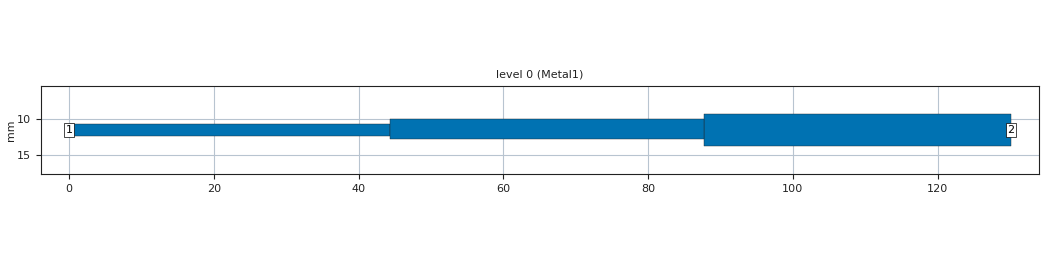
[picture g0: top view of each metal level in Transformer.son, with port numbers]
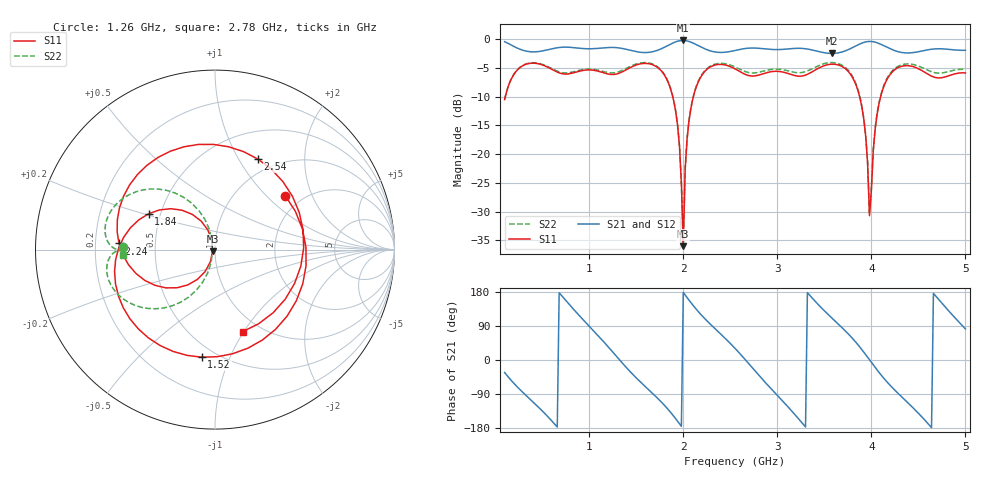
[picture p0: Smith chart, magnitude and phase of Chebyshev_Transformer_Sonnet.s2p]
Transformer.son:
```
FTYP SONPROJ 19 ! Sonnet Project File
VER 18.53
HEADER
LIC SL685a1842
DAT 06/29/2025 10:08:25
BUILT_BY_CREATED xgeom 18.53-Lite 06/25/2025 21:43:06
BUILT_BY_SAVED sonnet 18.53-Lite
MDATE 06/29/2025 10:08:25
HDATE 06/29/2025 10:08:25
END HEADER
DIM
ANG DEG
CAP PF
CON /OH
FREQ GHZ
IND NH
LNG MM
RES OH
END DIM
CONTROL
VARSWP
OPTIONS  -bd
FORCERUN
SPEED 0
CACHE_ABS 2
Q_ACC N
END CONTROL
GEO
TMET "Lossless" 0 SUP 0 0 0 0
BMET "Lossless" 0 SUP 0 0 0 0
MET "Copper" 1 NOR 58000000 0.5 32 
BOX 1 130.151 22.1187 2000 600 20 0
      10 1 1 0 0 0 0 "Air"
      0.508 3.55 1 0.0029 0 0 0 "Rogers RO4003C"
TECHLAY METAL Metal1 <UNSPECIFIED> -2 -65534 
0 0 0 N 261 1 1 100 100 0 0 0 Y
END
END
VALVAR L1 LNG 44.38 "Dim. Param."
VALVAR L2 LNG 43.33 "Dim. Param. L2"
VALVAR L3 LNG 42.439520085625 "Dim. Param."
VALVAR W1 LNG 1.57 "Dim. Param."
VALVAR W2 LNG 2.7 "Dim. Param."
VALVAR W3 LNG 4.4 "Dim. Param."
LORGN 0 22.1187 U 
POR1 BOX
POLY 163 1
1
2 50 0 0 0 130.153 11.57390528 
POR1 BOX
POLY 244 1
3
1 50 0 0 0 0 11.57393673 
NUM 3
0 5 0 N 163 1 1 100 100 0 0 0 Y
TLAYNAM Metal1 INH
87.71347991 9.373905279
130.153 9.373905279
130.153 13.77390528
87.71347991 13.77390528
87.71347991 9.373905279
END
0 5 0 N 244 1 1 100 100 0 0 0 Y
TLAYNAM Metal1 NOH
0 10.78893673
44.38 10.78893673
44.38 12.35893673
0 12.35893673
0 10.78893673
END
0 5 0 N 251 1 1 100 100 0 0 0 Y
TLAYNAM Metal1 INH
44.3578961 10.09683339
87.6878961 10.09683339
87.6878961 12.79683339
44.3578961 12.79683339
44.3578961 10.09683339
END
END GEO
OPT
MAX 100
END OPT
VARSWP
ENABLED Y
FREQ Y AY ABS_ENTRY 0.1 5.0 -1 300 
VAR L3 N 42.15 42.15 UNDEF
VAR L1 N 53.2619209 53.2619209 UNDEF
VAR W1 N 22.1159818 22.1159818 UNDEF
VAR L2 N 47.6554029 47.6554029 UNDEF
VAR W2 N 18.3028815 18.3028815 UNDEF
VAR W3 N 5.32 5.32 UNDEF
END
END VARSWP
FILEOUT
TOUCH D Y Chebyshev_$BASENAME_Sonnet.s2p IC 15 S MA R 50.00000
FOLDER .
END FILEOUT
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```
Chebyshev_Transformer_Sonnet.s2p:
! Sonnet Data File
! From: em Version : 18.53-Lite
! From Project: Transformer
! Data is De-embedded
! Data File Written: 06/29/2025 10:10:49
!< HDATE 06/29/2025 10:08:25
!< MDATE 06/29/2025 10:08:25
!< PARAMS
!< L1 = 44.38
!< L2 = 43.33
!< L3 = 42.439520085625
!< W1 = 1.57
!< W2 = 2.7
!< W3 = 4.4
!< END PARAMS
# GHZ S MA R 50.00000
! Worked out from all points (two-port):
!   246 points, 100 MHz to 5 GHz, reference 50 ohm
!   highest |S21| = -0.22 dB at 2 GHz (marker M1); lowest = -2.5 dB at 3.58 GHz (marker M2)
!   |S21| within 3 dB of the highest: start of sweep to end of sweep
!   lowest |S11| = -36.0 dB at 2 GHz (marker M3), VSWR 1.03, Z = 48.7 - j0.855 ohm
!   |S11| at or under -10 dB: start of sweep to 107.7 MHz; 1.888 GHz to 2.107 GHz (219.9 MHz wide, 11 % of centre); 3.875 GHz to 4.099 GHz (223.6 MHz wide, 5.61 % of centre)
!   |S22| runs from -35.7 to -4.1 dB; largest |S21 - S12| = 4.3e-12
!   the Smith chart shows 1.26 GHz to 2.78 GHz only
!   S11 on the Smith chart (normalised r, x): 1.26 GHz: 1.64, +1.31; 1.52 GHz: 0.42, -0.79; 1.84 GHz: 0.43, +0.21; 2.24 GHz: 0.30, +0.03; 2.54 GHz: 0.83, +1.21; 2.78 GHz: 0.83, -0.99
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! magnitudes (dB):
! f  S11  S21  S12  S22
! 100 MHz  -10.5  -0.4  -0.4  -10.5
! 1.26 GHz  -6.1  -1.4  -1.4  -5.8
! 1.52 GHz  -4.4  -2.2  -2.2  -4.2
! 1.84 GHz  -7.5  -1.1  -1.1  -7.4
! 2 GHz  -36.0  -0.2  -0.2  -35.7
! 2.24 GHz  -5.4  -1.7  -1.7  -5.3
! 2.54 GHz  -5.1  -2.0  -2.0  -4.7
! 2.56 GHz  -5.2  -1.9  -1.9  -4.9
! 2.78 GHz  -6.3  -1.6  -1.6  -5.8
! 3.58 GHz  -4.3  -2.5  -2.5  -4.1
! 5 GHz  -5.9  -1.9  -1.9  -5.2
